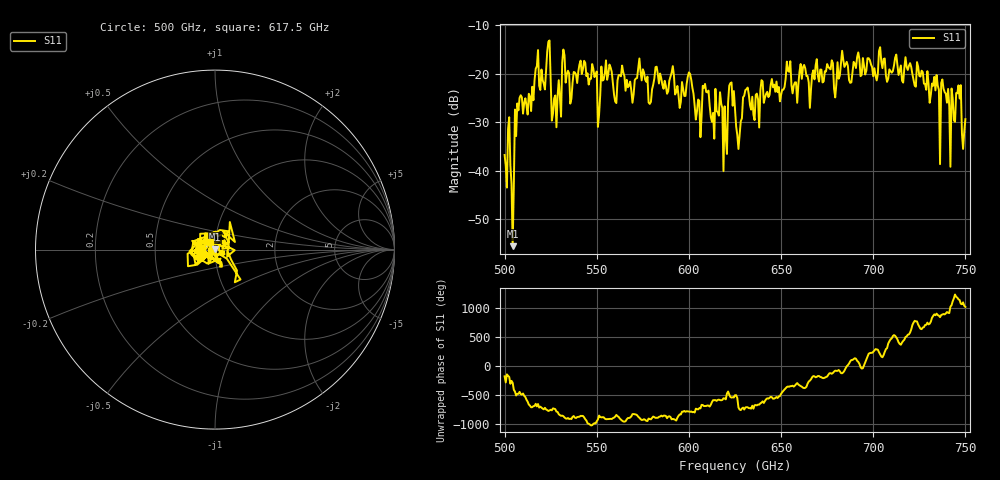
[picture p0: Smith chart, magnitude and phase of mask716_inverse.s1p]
!Created with skrf (http://scikit-rf.org).
# GHz S MA R 50.0
!freq magS11 angS11
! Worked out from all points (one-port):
!   401 points, 500 GHz to 750 GHz, reference 50 ohm
!   lowest |S11| = -55.6 dB at 504.4 GHz (marker M1), VSWR 1.00, Z = 50.1 + j0.157 ohm
!   |S11| at or under -10 dB: start of sweep to end of sweep
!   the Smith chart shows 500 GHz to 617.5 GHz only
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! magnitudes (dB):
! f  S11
! 500 GHz  -36.8
! 504.4 GHz  -55.6
! 508.1 GHz  -25.0
! 523.8 GHz  -13.4
! 526.9 GHz  -25.1
! 531.2 GHz  -17.7
! 548.8 GHz  -20.7
! 551.9 GHz  -24.5
! 553.8 GHz  -21.3
! 562.5 GHz  -20.3
! 579.4 GHz  -25.9
! 590.6 GHz  -19.8
! 593.8 GHz  -22.6
! 600.6 GHz  -20.1
! 605 GHz  -25.4
! 609.4 GHz  -23.8
! 619.4 GHz  -26.8
! 622.5 GHz  -22.0
! 625 GHz  -27.4
! 626.9 GHz  -35.5
! 630.6 GHz  -23.4
! 656.2 GHz  -24.1
! 687.5 GHz  -21.9
! 718.8 GHz  -19.3
! 738.1 GHz  -23.1
! 743.1 GHz  -25.2
! 746.2 GHz  -22.4
! 750 GHz  -29.4
